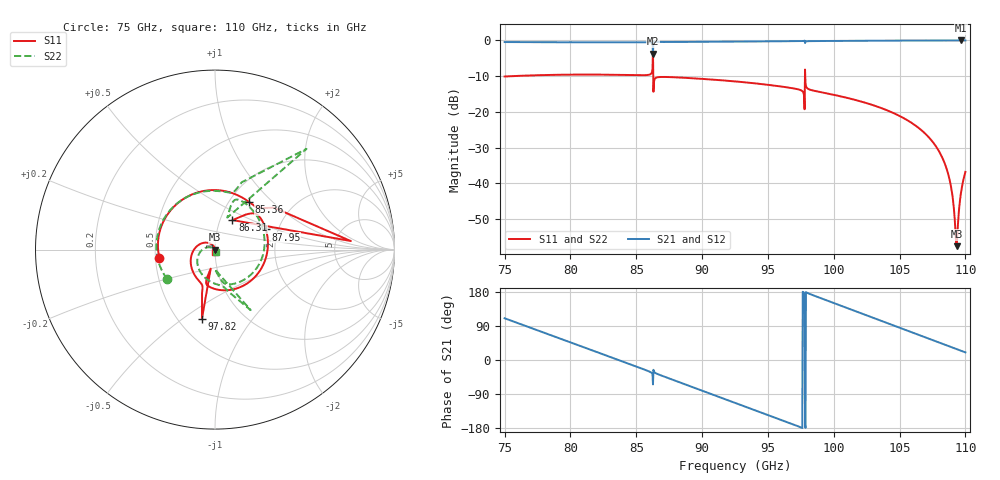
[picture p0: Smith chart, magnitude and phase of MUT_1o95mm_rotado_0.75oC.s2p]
! TOUCHSTONE file generated by CST MICROWAVE STUDIO
! Date and time: Wed Feb 14 23:06:00 2024
! Project name: material_rotado.cst
! Parameters = {angY=0.75}
! Header version: 2018
! Port assignment regex: !\s*Touchstone port\s*([0-9]+)\s*=\s*(CST MWS port|CST DS port)\s*([0-9]+|Zmin|Zmax)\s*\(\"(.*)\"\)(\s*mode\s*([0-9]+))?.*
! Touchstone port assignment:
! Touchstone port 1 = CST MWS port 1 ("")
! Touchstone port 2 = CST MWS port 2 ("")
# GHz S MA R 376.7
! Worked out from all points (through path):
!   1001 points, 75 GHz to 110 GHz, reference 376.7 ohm
!   highest |S21| = 0.00 dB at 109.7 GHz (marker M1); lowest = -3.7 dB at 86.27 GHz (marker M2)
!   lowest |S11| = -57.6 dB at 109.3 GHz (marker M3), VSWR 1.00, Z = 378 + j0.0655 ohm
!   |S11| at or under -10 dB: start of sweep to 75.53 GHz; 86.29 GHz to 97.81 GHz (11.52 GHz wide, 12.5 % of centre); 97.84 GHz to end of sweep
!   |S22| runs from -58.9 to -2.4 dB; largest |S21 - S12| = 0.0012
!   S11 on the Smith chart (normalised r, x): 75 GHz: 0.53, -0.05; 85.36 GHz: 1.23, +0.73; 86.31 GHz: 1.14, +0.39; 87.95 GHz: 1.72, +0.43; 97.82 GHz: 0.65, -0.59; 110 GHz: 1.00, -0.03
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75  0.3129 -171.5  0.9499 110.1  0.9497 110.1  0.3128 -148.2
77.835  0.3272 151.9  0.9449 74.0  0.945 74.0  0.3272 176.1
80.845  0.3328 113.1  0.943 35.7  0.943 35.7  0.3328 138.4
83.12  0.331 83.7  0.9436 6.8  0.9436 6.8  0.331 109.9
85.36  0.3261 54.5  0.9453 -21.9  0.9453 -21.9  0.3261 81.7
86.27  0.7584 3.6  0.6518 -64.3  0.6518 -64.3  0.7584 47.8
86.305  0.1911 59.3  0.9793 -25.8  0.9804 -25.8  0.1912 69.0
86.69  0.3064 38.6  0.9524 -38.0  0.9524 -38.1  0.3064 65.3
87.95  0.3048 21.6  0.9525 -54.5  0.9525 -54.5  0.3048 49.4
90.26  0.2876 -8.5  0.9576 -84.1  0.9576 -84.1  0.2877 20.3
92.5  0.2672 -37.7  0.9635 -112.9  0.9633 -112.9  0.2676 -8.1
95.37  0.2347 -75.1  0.9721 -149.9  0.9721 -149.9  0.2347 -44.7
97.82  0.3914 -100.7  0.9202 -170.1  0.9202 -170.1  0.3914 -59.5
98.345  0.2009 -113.9  0.9797 172.0  0.9796 172.0  0.2009 -82.2
100.97  0.1578 -148.2  0.9873 137.8  0.9876 137.8  0.1578 -116.2
104.19  0.1027 169.5  0.9947 95.9  0.9947 95.9  0.1026 -157.8
106.5  0.05858 138.8  0.9983 65.7  0.9983 65.7  0.0585 172.7
108.005  0.02789 117.7  0.9996 46.1  0.9995 46.1  0.0281 153.9
108.775  0.01175 103.9  0.9999 36.0  0.9998 36.0  0.01199 146.6
109.335  0.001316 3.8  1 28.7  0.9997 28.7  0.001135 -134.8
109.65  0.007036 -70.6  1 24.6  0.9996 24.6  0.006937 -60.4
110  0.01443 -80.7  1 20.1  0.9994 20.1  0.0145 -60.4
